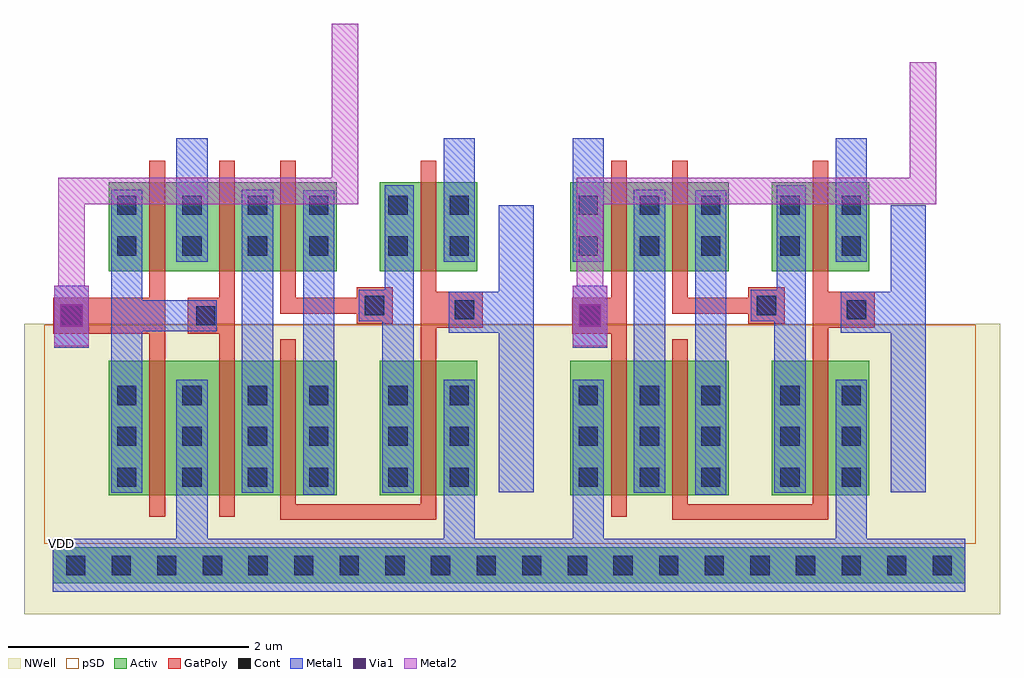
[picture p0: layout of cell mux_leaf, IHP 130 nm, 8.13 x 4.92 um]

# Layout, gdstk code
import gdstk
lib = gdstk.Library(unit=1e-6, precision=1e-09)
def R(c, l, rs):  # rectangles x0, y0, x1, y1
    for r in rs: c.add(gdstk.rectangle(r[:2], r[2:], *l))
def A(c, l, x, y, w, h, nx, ny, dx, dy):  # array of equal rectangles
    R(c, l, [(x+i*dx, y+j*dy, x+i*dx+w, y+j*dy+h) for i in range(nx) for j in range(ny)])
def P(c, l, *ps):  # polygons
    for p in ps: c.add(gdstk.Polygon(p, *l))
Activ = (1, 0)
GatPoly = (5, 0)
Cont = (6, 0)
Metal1 = (8, 0)
Metal2 = (10, 0)
pSD = (14, 0)
Via1 = (19, 0)
NWell = (31, 0)

mux_leaf = lib.new_cell('mux_leaf')
R(mux_leaf, Activ, [(0,-0.54,7.6,-0.24), (0.465,0.195,2.365,1.315), (2.725,0.195,3.535,1.315), (4.31,0.195,5.63,1.315), (5.99,0.195,6.8,1.315), (0.465,2.06,2.365,2.8), (2.725,2.06,3.535,2.8), (4.31,2.06,5.63,2.8), (5.99,2.06,6.8,2.8)])
P(mux_leaf, GatPoly, [(5.795,1.625),(5.795,1.705),(5.16,1.705),(5.16,2.98),(5.29,2.98),(5.29,1.84),(5.795,1.84),(5.795,1.925),(6.095,1.925),(6.095,1.625)],
  [(2.53,1.625),(2.53,1.705),(1.895,1.705),(1.895,2.98),(2.025,2.98),(2.025,1.84),(2.53,1.84),(2.53,1.925),(2.83,1.925),(2.83,1.625)],
  [(5.16,-0.01),(5.16,1.495),(5.29,1.495),(5.29,0.12),(6.33,0.12),(6.33,2.98),(6.46,2.98),(6.46,1.89),(6.845,1.89),(6.845,1.59),(6.46,1.59),(6.46,-0.01)],
  [(1.895,-0.01),(1.895,1.495),(2.025,1.495),(2.025,0.12),(3.065,0.12),(3.065,2.98),(3.195,2.98),(3.195,1.89),(3.58,1.89),(3.58,1.59),(3.195,1.59),(3.195,-0.01)],
  [(0.805,0.015),(0.805,1.54),(0.005,1.54),(0.005,1.84),(0.805,1.84),(0.805,2.98),(0.935,2.98),(0.935,0.015)],
  [(4.65,0.015),(4.65,1.54),(4.325,1.54),(4.325,1.84),(4.65,1.84),(4.65,2.98),(4.78,2.98),(4.78,0.015)],
  [(1.385,0.015),(1.385,1.54),(1.125,1.54),(1.125,1.84),(1.385,1.84),(1.385,2.98),(1.515,2.98),(1.515,0.015)])
A(mux_leaf, Cont, 0.11, -0.47, 0.16, 0.16, 20, 1, 0.38, 0)
A(mux_leaf, Cont, 0.535, 0.265, 0.16, 0.16, 3, 3, 0.545, 0.34)
A(mux_leaf, Cont, 2.135, 0.265, 0.16, 0.16, 1, 3, 0, 0.34)
A(mux_leaf, Cont, 2.795, 0.265, 0.16, 0.16, 1, 3, 0, 0.34)
A(mux_leaf, Cont, 3.305, 0.265, 0.16, 0.16, 1, 3, 0, 0.34)
A(mux_leaf, Cont, 4.38, 0.265, 0.16, 0.16, 3, 3, 0.51, 0.34)
A(mux_leaf, Cont, 6.06, 0.265, 0.16, 0.16, 1, 3, 0, 0.34)
A(mux_leaf, Cont, 6.57, 0.265, 0.16, 0.16, 1, 3, 0, 0.34)
A(mux_leaf, Cont, 0.535, 2.19, 0.16, 0.16, 3, 2, 0.545, 0.34)
A(mux_leaf, Cont, 4.38, 2.19, 0.16, 0.16, 3, 2, 0.51, 0.34)
R(mux_leaf, Cont, [(0.075,1.61,0.235,1.77), (1.195,1.61,1.355,1.77), (4.395,1.61,4.555,1.77), (3.35,1.66,3.51,1.82), (6.615,1.66,6.775,1.82), (2.6,1.695,2.76,1.855), (5.865,1.695,6.025,1.855), (2.135,2.19,2.295,2.35), (2.795,2.19,2.955,2.35), (3.305,2.19,3.465,2.35), (6.06,2.19,6.22,2.35), (6.57,2.19,6.73,2.35), (2.135,2.53,2.295,2.69), (2.795,2.53,2.955,2.69), (3.305,2.53,3.465,2.69), (6.06,2.53,6.22,2.69), (6.57,2.53,6.73,2.69)])
R(mux_leaf, Metal1, [(0,-0.61,7.6,-0.17), (1.03,-0.17,1.29,1.155), (3.255,-0.17,3.515,1.155), (4.33,-0.17,4.59,1.155), (6.52,-0.17,6.78,1.155), (2.085,0.2,2.345,2.735), (5.35,0.2,5.61,2.735), (1.575,0.215,1.835,2.74), (4.84,0.215,5.1,2.74), (0.01,1.425,0.3,1.94), (4.33,1.425,4.62,1.94), (1.03,2.14,1.29,3.17), (3.255,2.14,3.515,3.17), (4.33,2.14,4.59,3.17), (6.52,2.14,6.78,3.17)])
P(mux_leaf, Metal1, [(3.715,0.22),(3.715,1.55),(3.3,1.55),(3.3,1.89),(3.715,1.89),(3.715,2.61),(4.005,2.61),(4.005,0.22)],
  [(6.98,0.22),(6.98,1.55),(6.565,1.55),(6.565,1.89),(6.98,1.89),(6.98,2.61),(7.27,2.61),(7.27,0.22)],
  [(6.01,0.215),(6.01,1.645),(5.815,1.645),(5.815,1.905),(6.03,1.905),(6.03,2.775),(6.27,2.775),(6.27,0.215)],
  [(2.745,0.215),(2.745,1.645),(2.55,1.645),(2.55,1.905),(2.765,1.905),(2.765,2.775),(3.005,2.775),(3.005,0.215)],
  [(0.485,0.215),(0.485,2.74),(0.745,2.74),(0.745,1.82),(1.365,1.82),(1.365,1.56),(0.745,1.56),(0.745,0.215)])
P(mux_leaf, Metal2, [(0.01,1.435),(0.01,1.94),(0.045,1.94),(0.045,2.84),(2.325,2.84),(2.325,4.12),(2.545,4.12),(2.545,2.62),(0.265,2.62),(0.265,1.94),(0.3,1.94),(0.3,1.435)],
  [(4.33,1.435),(4.33,1.94),(4.365,1.94),(4.365,2.84),(7.14,2.84),(7.14,3.8),(7.36,3.8),(7.36,2.62),(4.585,2.62),(4.585,1.94),(4.62,1.94),(4.62,1.435)])
R(mux_leaf, pSD, [(-0.07,-0.21,7.69,1.615)])
R(mux_leaf, Via1, [(0.06,1.595,0.25,1.785), (4.38,1.595,4.57,1.785)])
R(mux_leaf, NWell, [(-0.24,-0.795,7.89,1.625)])
mux_leaf.add(gdstk.Label('VDD', (0.075,-0.21), layer=8, texttype=25))

lib.write_gds('mux_leaf.gds')
